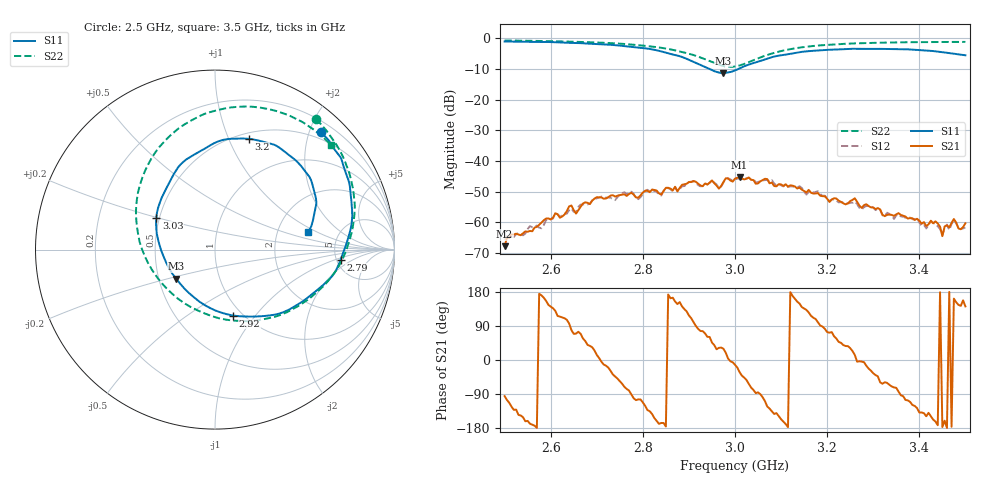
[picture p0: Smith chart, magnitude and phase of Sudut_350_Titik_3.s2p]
# Hz S RI R 50
! CMT, C1220, 16058040, 17.2.0/1
! Date: 15/08/2018 10:45:36
! Data: Format (Calibration Info)
! Freq  S11: Re/Im (F2)  S21: Re/Im (F2)  S12: Re/Im (F2)  S22: Re/Im (F2)
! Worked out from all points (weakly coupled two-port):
!   201 points, 2.5 GHz to 3.5 GHz, reference 50 ohm
!   highest |S21| = -45.30 dB at 3.01 GHz (marker M1); lowest = -67.7 dB at 2.5 GHz (marker M2)
!   lowest |S11| = -11.4 dB at 2.975 GHz (marker M3), VSWR 1.74, Z = 30.7 - j10.7 ohm
!   |S11| at or under -10 dB: 2.944 GHz to 3.008 GHz (63.17 MHz wide, 2.12 % of centre)
!   |S22| runs from -9.3 to -0.7 dB; largest |S21 - S12| = 0.00045
!   S11 on the Smith chart (normalised r, x): 2.5 GHz: 0.37, +2.20; 2.79 GHz: 5.44, -1.20; 2.92 GHz: 0.90, -0.78; 3.03 GHz: 0.48, +0.20; 3.2 GHz: 0.56, +1.19; 3.5 GHz: 2.99, +0.79
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2.5e9  0.5928 0.6538  -3.77e-05 -0.000408  -8.14e-05 -0.000509  0.5633 0.7256
2.515e9  0.6148 0.6295  -0.000348 -0.000534  -0.000296 -0.000507  0.5808 0.7092
2.67e9  0.7523 0.3435  0.00111 0.0017  0.00115 0.00159  0.7384 0.4544
2.76e9  0.7409 0.0604  0.000936 -0.00271  0.00107 -0.00292  0.7776 0.2105
2.79e9  0.6999 -0.0558  -0.000611 -0.00245  -0.000625 -0.00231  0.764 0.1062
2.81e9  0.6626 -0.1347  -0.0022 -0.00243  -0.00225 -0.00256  0.7434 0.0342
2.835e9  0.5858 -0.2115  -0.00291 -0.000593  -0.00276 -0.000647  0.7034 -0.0667
2.92e9  0.0993 -0.3673  0.000586 0.00424  0.000474 0.00402  0.3342 -0.374
2.975e9  -0.217 -0.1619  0.00397 0.00224  0.00387 0.00222  -0.0958 -0.3393
3e9  -0.2984 -0.00853  0.00503 -0.00113  0.00498 -0.00127  -0.272 -0.214
3.01e9  -0.3174 0.0565  0.0046 -0.00289  0.0045 -0.00264  -0.3287 -0.1456
3.03e9  -0.3269 0.177  0.00242 -0.00477  0.00245 -0.00481  -0.4076 0.00431
3.1e9  -0.1585 0.5033  -0.00381 -0.00167  -0.00376 -0.00144  -0.3564 0.5043
3.17e9  0.0885 0.6172  -0.00108 0.00275  -0.00132 0.00277  -0.09 0.7415
3.2e9  0.1876 0.6173  0.000683 0.00233  0.00086 0.00233  0.0201 0.7783
3.26e9  0.3487 0.5746  0.0024 0.000564  0.00213 0.000496  0.2094 0.7958
3.335e9  0.49 0.4528  0.000556 -0.00122  0.000538 -0.00127  0.3918 0.7554
3.435e9  0.5617 0.2414  -0.00099 -0.000316  -0.000924 -0.000243  0.5631 0.6578
3.45e9  0.5546 0.2078  -0.000596 -3.14e-05  -0.000621 -5.46e-05  0.585 0.641
3.475e9  0.5412 0.1438  -0.00108 0.000352  -0.00108 0.000257  0.6157 0.6136
3.485e9  0.5331 0.123  -0.000655 0.000452  -0.00068 0.000443  0.6276 0.601
3.5e9  0.5181 0.0957  -0.000757 0.000603  -0.00063 0.000529  0.6447 0.584
